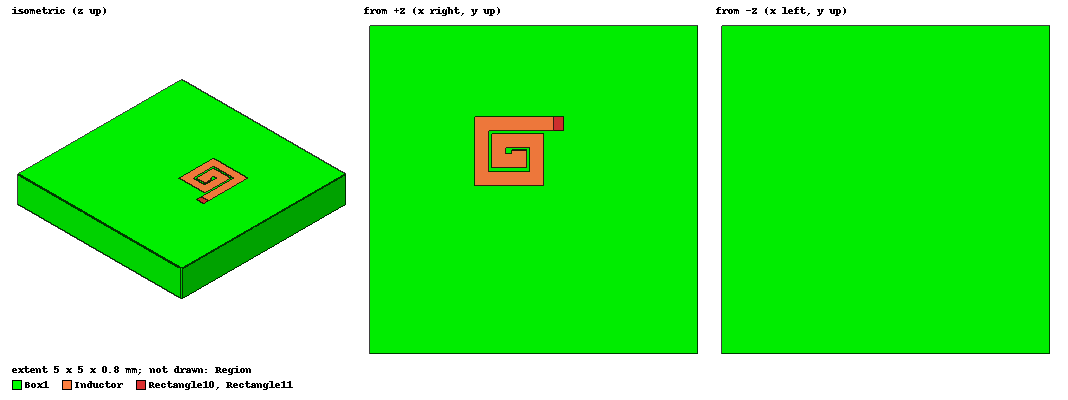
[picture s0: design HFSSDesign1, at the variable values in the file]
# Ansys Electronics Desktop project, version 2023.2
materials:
  vacuum: permittivity=1
  FR4_epoxy: permittivity=4.4 dielectric_loss_tangent=0.02
  air: permittivity=1.0006 permeability=1.0000004

design HFSSDesign1 (HFSS, HFSS Terminal Network, model units mm)
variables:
  w = -0.214mm
  W1 = 2.14mm
  W_ = 0.214mm
  s = 0.048mm
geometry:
  Box1 [FR4_epoxy] = box(corner=(0mm, 0mm, 0mm), size=(5mm, 5mm, -0.8mm))
  Inductor = rectangle(corner=(1.6mm, 3.4mm, 0mm), x_size=1.2mm, y_size=W_)
  Rectangle2 = rectangle(corner=(1.6mm, 3.507mm, 0mm), x_size=W_, y_size=-0.941mm)
  Rectangle3 = rectangle(corner=(1.6mm, 2.566mm, 0mm), x_size=1.048mm, y_size=w_)
  Rectangle5 = rectangle(corner=(2.648mm, 2.566mm, 0mm), x_size=-w_, y_size=0.786mm)
  Rectangle6 = rectangle(corner=(2.648mm, 3.352mm, 0mm), x_size=-0.786mm, y_size=-W_)
  Rectangle7 = rectangle(corner=(1.862mm, 3.352mm, 0mm), x_size=W_, y_size=-0.524mm)
  Rectangle8 = rectangle(corner=(2.076mm, 2.828mm, 0mm), x_size=0.31mm, y_size=W_)
  Rectangle9 = rectangle(corner=(2.386mm, 2.828mm, 0mm), x_size=-W_, y_size=0.262mm)
  Inductor.unite(Rectangle2, Rectangle3, Rectangle5..Rectangle9)
  Rectangle10 = rectangle(corner=(2.8mm, 3.4mm, 0mm), x_size=0.15mm, y_size=W_)
  Rectangle11 = rectangle(corner=(2.172mm, 3.09mm, 0mm), x_size=W_, y_size=0.02mm)
  Region [air] = region(absolute_offset=5mm on all sides)
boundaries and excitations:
  PerfE1: Perfect E Objects=Inductor
  Rad1: Radiation Objects=Region
  1: Lumped Port Objects=Rectangle10 LumpedPortType=Modal Modes{Mode1{IntLine{(2.95, 3.507, 0) -> (2.8, 3.507, 0)} CharImp=Zpi RenormImp=50ohm}} Impedance=50ohm
  2: Lumped Port Objects=Rectangle11 LumpedPortType=Modal Modes{Mode1{IntLine{(2.279, 3.09, 0) -> (2.279, 3.11, 0)} CharImp=Zpi RenormImp=50ohm}} Impedance=50ohm
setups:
  Setup1: HfssDriven Frequency=0.868GHz MaxDeltaS=0.02 MaximumPasses=6 MinimumPasses=1 MinimumConvergedPasses=1 PercentRefinement=30 BasisOrder=1 PortAccuracy=2 DrivenSolverType="Direct Solver"
    sweep Sweep: 0.434GHz to 20GHz, 401 points; Type=Interpolating InterpTolerance=0.5 InterpMaxSolns=250 PassivityErrorTolerance=0.0001
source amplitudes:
  1:1: 1V 0deg
  2:1: 0V 0deg
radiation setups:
  Infinite Sphere1: Infinite Sphere Theta=0deg..180deg step 2deg Phi=-180deg..180deg step 2deg
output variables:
  L = -1*10^9/(2*3.14*im(Yt(1,1)))
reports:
  Active Y Parameter: re(ActiveY(1:1)), im(ActiveY(1:1)), re(ActiveY(2:1)), im(ActiveY(2:1)) vs Freq on Setup1 : Sweep [w=all W1=all W_=all s=all]
  Active Y Parameter1: re(ActiveY(1:1)), im(ActiveY(1:1)), re(ActiveY(2:1)), im(ActiveY(2:1)) vs Pass on Setup1 : AdaptivePass [Freq=all w=all W1=all W_=all s=all]
  Output Variables Plot 1: L vs Freq on Setup1 : Sweep [w=all W1=all W_=all s=all]; markers MX1 at x=9.2208905e+08, MY1 at y=-2.05e+11
